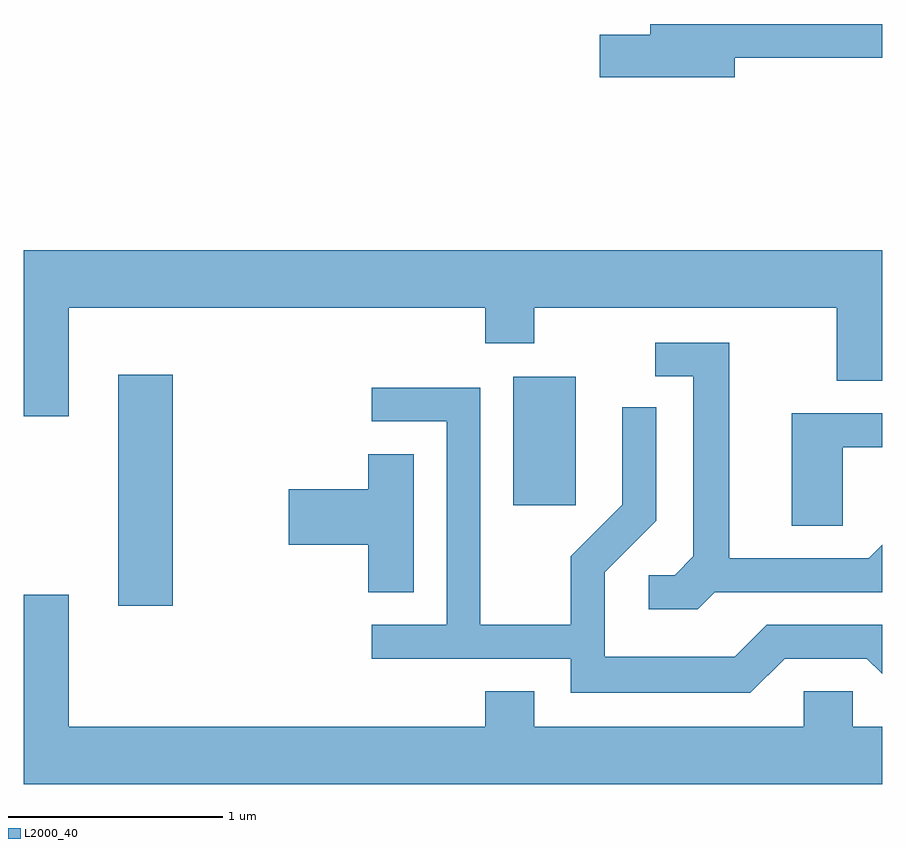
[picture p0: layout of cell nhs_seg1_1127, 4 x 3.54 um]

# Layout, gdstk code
import gdstk
lib = gdstk.Library(unit=1e-6, precision=1e-09)
def R(c, l, rs):  # rectangles x0, y0, x1, y1
    for r in rs: c.add(gdstk.rectangle(r[:2], r[2:], *l))
def P(c, l, *ps):  # polygons
    for p in ps: c.add(gdstk.Polygon(p, *l))
L2000_40 = (2000, 40)

nhs_seg1_1127 = lib.new_cell('nhs_seg1_1127')
R(nhs_seg1_1127, L2000_40, [(220.051,924.826,220.304,925.904), (221.891,925.296,222.184,925.894)])
P(nhs_seg1_1127, L2000_40, [(222.924,927.381),(223.611,927.381),(223.611,927.539),(222.531,927.539),(222.531,927.489),(222.296,927.489),(222.296,927.291),(222.924,927.291)],
  [(219.819,926.216),(221.761,926.216),(221.761,926.051),(221.989,926.051),(221.989,926.216),(223.401,926.216),(223.401,925.876),(223.611,925.876),(223.611,926.484),(219.611,926.484),(219.611,925.711),(219.819,925.711)],
  [(222.832,924.891),(223.611,924.891),(223.611,925.112),(223.549,925.049),(222.899,925.049),(222.899,926.054),(222.553,926.054),(222.553,925.896),(222.731,925.896),(222.731,925.057),(222.644,924.969),(222.523,924.969),(222.523,924.811),(222.752,924.811)],
  [(223.157,924.581),(223.539,924.581),(223.611,924.509),(223.611,924.739),(223.074,924.739),(222.924,924.589),(222.319,924.589),(222.319,924.984),(222.559,925.224),(222.559,925.753),(222.401,925.753),(222.401,925.297),(222.161,925.057),(222.161,924.739),(221.739,924.739),(221.739,925.844),(221.233,925.844),(221.233,925.686),(221.581,925.686),(221.581,924.739),(221.233,924.739),(221.233,924.581),(222.161,924.581),(222.161,924.421),(222.997,924.421)],
  [(223.429,925.566),(223.611,925.566),(223.611,925.724),(223.191,925.724),(223.191,925.201),(223.429,925.201)],
  [(221.429,925.534),(221.216,925.534),(221.216,925.369),(220.846,925.369),(220.846,925.111),(221.216,925.111),(221.216,924.891),(221.429,924.891)],
  [(223.611,924.264),(223.474,924.264),(223.474,924.429),(223.246,924.429),(223.246,924.264),(221.989,924.264),(221.989,924.429),(221.761,924.429),(221.761,924.264),(219.819,924.264),(219.819,924.879),(219.611,924.879),(219.611,923.996),(223.611,923.996)])

lib.write_gds('nhs_seg1_1127.gds')
